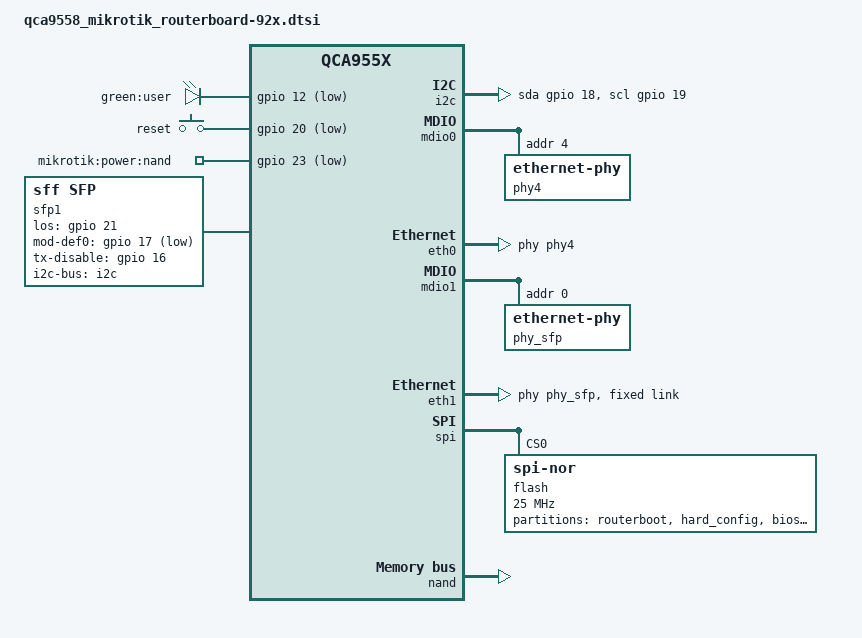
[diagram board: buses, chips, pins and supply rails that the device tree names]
// SPDX-License-Identifier: GPL-2.0-or-later OR MIT

#include "qca955x.dtsi"

#include <dt-bindings/gpio/gpio.h>
#include <dt-bindings/input/input.h>

/ {
	aliases {
		led-boot = &led_user;
		led-failsafe = &led_user;
		led-upgrade = &led_user;
		serial0 = &uart;
	};

	leds {
		compatible = "gpio-leds";

		led_user: user {
			label = "green:user";
			gpios = <&gpio 12 GPIO_ACTIVE_LOW>;
		};
	};

	keys {
		compatible = "gpio-keys";

		reset {
			label = "reset";
			linux,code = <KEY_RESTART>;
			gpios = <&gpio 20 GPIO_ACTIVE_LOW>;
			debounce-interval = <60>;
		};
	};

	gpio-export {
		compatible = "gpio-export";

		gpio_nand_power {
			gpio-export,name = "mikrotik:power:nand";
			gpio-export,output = <0>;
			gpios = <&gpio 23 GPIO_ACTIVE_LOW>;
		};
	};

	i2c: i2c {
		compatible = "i2c-gpio";

		sda-gpios = <&gpio 18 (GPIO_ACTIVE_HIGH|GPIO_OPEN_DRAIN)>;
		scl-gpios = <&gpio 19 (GPIO_ACTIVE_HIGH|GPIO_OPEN_DRAIN)>;
		i2c-gpio,delay-us = <5>;
		i2c-gpio,timeout-ms = <1>;
	};

	sfp1: sfp {
		compatible = "sff,sfp";

		i2c-bus = <&i2c>;
		maximum-power-milliwatt = <1000>;
		los-gpios = <&gpio 21 GPIO_ACTIVE_HIGH>;
		mod-def0-gpios = <&gpio 17 GPIO_ACTIVE_LOW>;
		tx-disable-gpios = <&gpio 16 GPIO_ACTIVE_HIGH>;
		// Toggling GPIO16 actually enables/disables the transmitter,
		// but the SFP driver does not seem to be using it.
	};
};

&mdio0 {
	status = "okay";

	phy4: ethernet-phy@4 {
		reg = <4>;
	};
};

&eth0 {
	status = "okay";

	phy-handle = <&phy4>;
	pll-data = <0x8f000000 0xa0000101 0xa0001313>;

	gmac-config {
		device = <&gmac>;
		rgmii-enabled = <1>;
	};
};

&mdio1 {
	status = "okay";

	phy_sfp: ethernet-phy@0 {
		reg = <0>;
		phy-mode = "sgmii";
		sfp = <&sfp1>;
	};
};

&eth1 {
	status = "okay";

	phy-handle = <&phy_sfp>;
	pll-data = <0x03000000 0x00000101 0x00001616>;
	qca955x-sgmii-fixup;

	gmac-config {
		device = <&gmac>;
	};

	fixed-link {
		speed = <1000>;
		full-duplex;
	};
};

&spi {
	status = "okay";

	flash@0 {
		compatible = "jedec,spi-nor";
		reg = <0>;
		spi-max-frequency = <25000000>;

		partitions {
			compatible = "mikrotik,routerboot-partitions";
			#address-cells = <1>;
			#size-cells = <1>;

			partition@0 {
				label = "routerboot";
				reg = <0x0 0x0>;
				read-only;
			};

			hard_config: hard_config {
				read-only;
			};

			bios {
				size = <0x1000>;
				read-only;
			};

			soft_config {
			};
		};
	};
};

&nand {
	status = "okay";

	nand-ecc-mode = "soft";
	qca,nand-swap-dma;
	qca,nand-scan-fixup;

	partitions {
		compatible = "fixed-partitions";
		#size-cells = <1>;

		partition@0 {
			label = "booter";
			reg = <0x0000000 0x0040000>;
			read-only;
		};

		partition@40000 {
			label = "kernel";
			reg = <0x0040000 0x03c0000>;
		};

		partition@400000 {
			label = "ubi";
			reg = <0x0400000 0x7c00000>;
		};
	};
};
